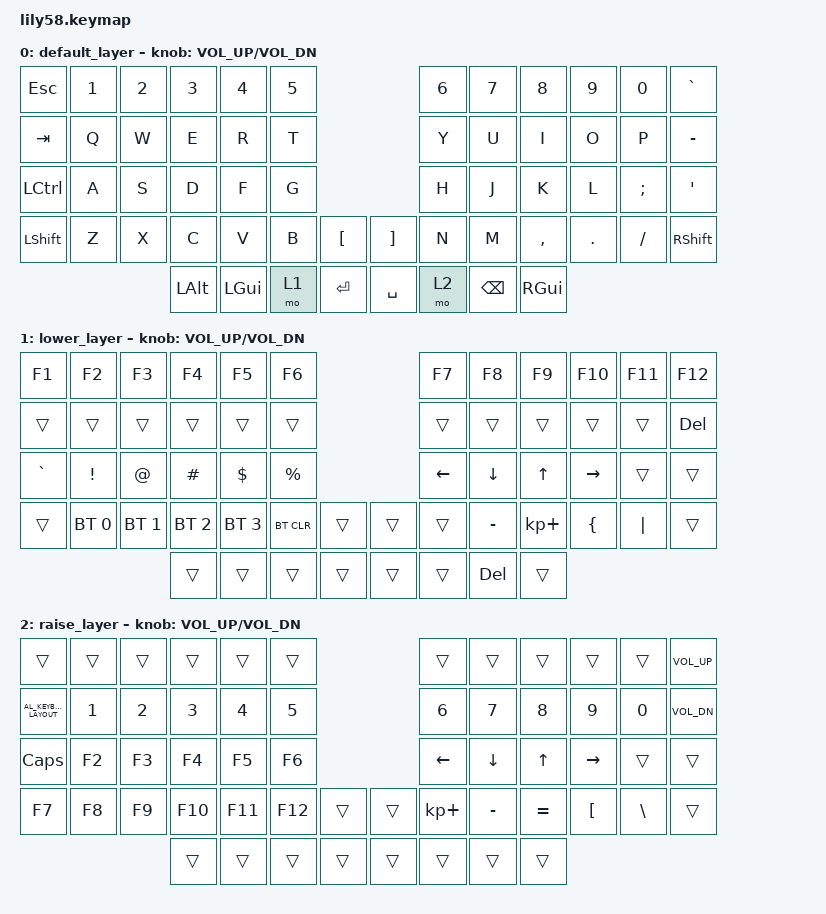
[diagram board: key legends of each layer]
/*
 * Copyright (c) 2020 The ZMK Contributors
 *
 * SPDX-License-Identifier: MIT
 */

#include <behaviors.dtsi>
#include <dt-bindings/zmk/keys.h>
#include <dt-bindings/zmk/bt.h>
#include <dt-bindings/zmk/ext_power.h>

/ {
	keymap {
		compatible = "zmk,keymap";

		default_layer {
// ------------------------------------------------------------------------------------------------------------
// |  ESC  |  1  |  2  |  3   |  4   |  5   |                   |  6   |  7    |  8    |  9   |   0   |   `   |
// |  TAB  |  Q  |  W  |  E   |  R   |  T   |                   |  Y   |  U    |  I    |  O   |   P   |   -   |
// |  CTRL |  A  |  S  |  D   |  F   |  G   |                   |  H   |  J    |  K    |  L   |   ;   |   '   |
// | SHIFT |  Z  |  X  |  C   |  V   |  B   |   "["  |  |  "]"  |  N   |  M    |  ,    |  .   |   /   | RSHIFT|
//                     | ALT  | GUI  | LOWER|  ENTER |  | SPACE | RAISE| BSPC  | GUI   |
			bindings = <
&kp ESC   &kp N1 &kp N2 &kp N3   &kp N4   &kp N5                     &kp N6 &kp N7   &kp N8    &kp N9  &kp N0   &kp GRAVE
&kp TAB   &kp Q  &kp W  &kp E    &kp R    &kp T                      &kp Y  &kp U    &kp I     &kp O   &kp P    &kp MINUS
&kp LCTRL &kp A  &kp S  &kp D    &kp F    &kp G                      &kp H  &kp J    &kp K     &kp L   &kp SEMI &kp SQT
&kp LSHFT &kp Z  &kp X  &kp C    &kp V    &kp B  &kp LBKT   &kp RBKT &kp N  &kp M    &kp COMMA &kp DOT &kp FSLH &kp RSHFT
                        &kp LALT &kp LGUI &mo 1  &kp RET    &kp SPACE  &mo 2  &kp BSPC &kp RGUI
			>;

			sensor-bindings = <&inc_dec_kp C_VOL_UP C_VOL_DN>;
		};

		lower_layer {
// ------------------------------------------------------------------------------------------------------------
// |  F1   |  F2 |  F3 |  F4  |  F5  |  F6  |                   |  F7  |  F8   |  F9   |  F10 |  F11  |  F12  |
// |       |     |     |      |      |      |                   |      |       |       |      |       |  DEL  |
// |   `   |  !  |  @  |  #   |  $   |  %   |                   |   <- |   v   |  ^    |  ->  |       |       |
// |       | BT1 | BT2 |  BT3 |  BT4 | BTCLR |        |  |       |      |  _    |  +    |  {   |  "|"  |       |
//                     |      |      |      |        |  |       |      |  DEL  |       |
			bindings = <
&kp F1     &kp F2           &kp F3            &kp F4            &kp F5       &kp F6                       &kp F7    &kp F8    &kp F9          &kp F10   &kp F11   &kp F12
&trans    &trans     &trans      &trans      &trans &trans                 &trans    &trans    &trans          &trans    &trans    &kp DEL
&kp GRAVE  &kp EXCL         &kp AT            &kp HASH          &kp DOLLAR   &kp PRCNT                    &kp LEFT  &kp DOWN  &kp UP          &kp RIGHT &trans  &trans
&trans &bt BT_SEL 0     &bt BT_SEL 1      &bt BT_SEL 2      &bt BT_SEL 3 &bt BT_CLR    &trans   &trans    &trans    &kp MINUS &kp KP_PLUS     &kp LBRC  &kp PIPE  &trans
                                              &trans            &trans       &trans    &trans   &trans    &trans    &kp DEL    &trans
			>;

			sensor-bindings = <&inc_dec_kp C_VOL_UP C_VOL_DN>;
		};

		raise_layer {
// ------------------------------------------------------------------------------------------------------------
// |       |     |     |      |      |      |                   |      |       |       |      |       | C_VOL_UP      |
// |   `   |  1  |  2  |  3   |  4   |  5   |                   |  6   |   7   |   8   |  9   |   0   | C_VOL_DN      |
// |  CAPS |  F2 |  F3 |  F4  |  F5  |  F6  |                   |  <-  |   v   |   ^   |  ->  |       |               |
// |   F7  |  F8 |  F9 |  F10 |  F11 |  F12 |        |  |       |  +   |   -   |   =   |  [   |   \   |               |
//                     |      |      |      |        |  |       |      |       |       |
			bindings = <
&trans                   &trans &trans &trans  &trans  &trans                       &trans      &trans    &trans    &trans   &trans    &kp C_VOL_UP
&kp C_AL_KEYBOARD_LAYOUT &kp N1 &kp N2 &kp N3  &kp N4  &kp N5                       &kp N6      &kp N7    &kp N8    &kp N9   &kp N0    &kp C_VOL_DN
&kp CAPSLOCK  		 &kp F2 &kp F3 &kp F4  &kp F5  &kp F6                       &kp LEFT    &kp DOWN  &kp UP   &kp RIGHT &trans    &trans
&kp F7    		 &kp F8 &kp F9 &kp F10 &kp F11 &kp F12   &trans   &trans    &kp KP_PLUS &kp MINUS &kp EQUAL &kp LBKT &kp BSLH  &trans
                        &trans  &trans  &trans    &trans   &trans    &trans      &trans    &trans
			>;

			sensor-bindings = <&inc_dec_kp C_VOL_UP C_VOL_DN>;
		};
	};
	
	combos {
		compatible = "zmk,combos";
		combo_copy {
		    timeout-ms = <50>;
		    key-positions = <38 38>;
		    bindings = <&kp C_AC_COPY>;
		};
		combo_cut {
		    timeout-ms = <50>;
		    key-positions = <37 37>;
		    bindings = <&kp C_AC_CUT>;
		};
		combo_paste {
		    timeout-ms = <50>;
		    key-positions = <21 21>;
		    bindings = <&kp C_AC_PASTE>;
		};
		combo_undo {
		    timeout-ms = <50>;
		    key-positions = <18 18>;
		    bindings = <&kp C_AC_UNDO>;
		};
		combo_redo {
		    timeout-ms = <50>;
		    key-positions = <15 15>;
		    bindings = <&kp C_AC_REDO>;
		};
	    };
};
